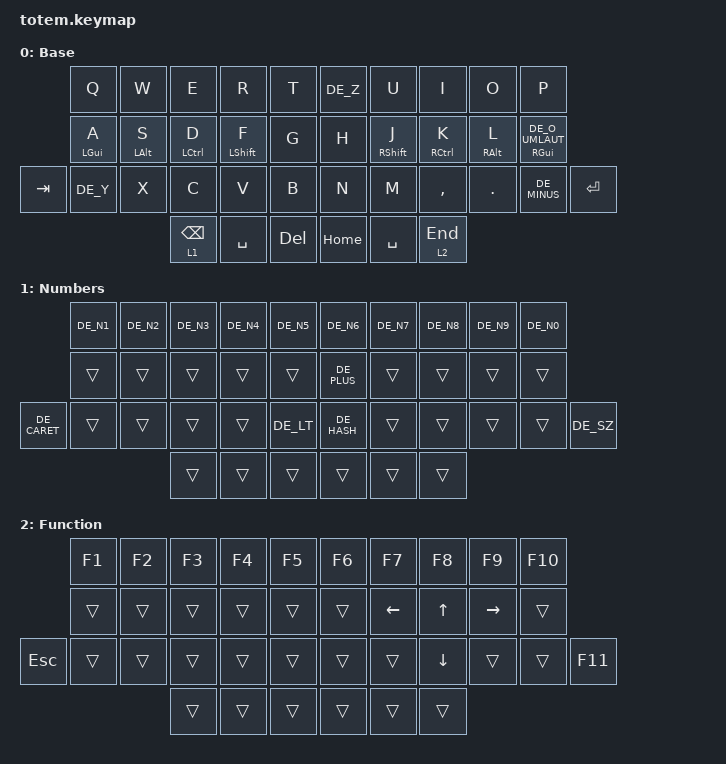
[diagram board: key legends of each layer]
//
//                                                        ▀▀▀▀▀     ▀▀▀▀▀          ▀▀█▀▀
//                                                        ▄▀▀▀▄  ▄  ▄▀▀▀▄  ▄  ▄▀▀▀▄  █  ▄▀▀▀▄
//                                                        █   █  █  █   █  █  █   █  █  █   █
//                                                         ▀▀▀   █   ▀▀▀   █   ▀▀▀   ▀   ▀▀▀
//                                                               █      ▄▄▄█▄▄▄    █   █  
//                                                               ▀      █  █  █     █▄█
//                                                             ▀▀▀▀▀    █  █  █      ▀
//                                                                      ▀  ▀  ▀
//
// ▄▄▄▄▄▄▄▄▄▄▄▄▄▄▄▄▄▄▄▄▄▄▄▄▄▄▄▄▄▄▄▄▄▄▄▄▄▄▄▄▄▄▄▄▄▄▄▄▄▄▄▄▄▄▄▄▄▄▄▄▄▄▄▄▄▄▄▄▄▄▄▄▄▄▄▄▄▄▄▄▄▄▄▄▄▄▄▄▄▄▄▄▄▄▄▄▄▄▄▄▄▄▄▄▄▄▄▄▄▄▄▄▄▄▄▄▄▄▄▄▄▄▄▄▄▄▄▄▄▄▄▄▄▄▄▄▄▄▄▄▄▄▄▄▄▄▄▄▄

#include <behaviors.dtsi>
#include <dt-bindings/zmk/keys.h>
#include "keys_de.h"

#define BASE        0
#define NUM         1
#define FN          2
#define NAV         3

// ▄▄▄▄▄▄▄▄▄▄▄▄▄▄▄▄▄▄▄▄▄▄▄▄▄▄▄▄▄▄▄▄▄▄▄▄▄▄▄▄▄▄▄▄▄▄▄▄▄▄▄▄▄▄▄▄▄▄▄▄▄▄▄▄▄▄▄▄▄▄▄▄▄▄▄▄▄▄▄▄▄▄▄▄▄▄▄▄▄▄▄▄▄▄▄▄▄▄▄▄▄▄▄▄▄▄▄▄▄▄▄▄▄▄▄▄▄▄▄▄▄▄▄▄▄▄▄▄▄▄▄▄▄▄▄▄▄▄▄▄▄▄▄▄▄▄▄▄▄

&mt {
    quick-tap-ms = <125>;
    flavor = "tap-preferred";
};

&lt { quick-tap-ms = <125>; };

/ {
    behaviors {
        hm: homerow_mods {
            compatible = "zmk,behavior-hold-tap";
            label = "HOMEROW_MODS";
            #binding-cells = <2>;
            flavor = "tap-preferred";
            tapping-term-ms = <200>;
            quick-tap-ms = <125>;
            global-quick-tap;
            bindings = <&kp>, <&kp>;
        };
    };

    combos { compatible = "zmk,combos"; };

    keymap {
        compatible = "zmk,keymap";

        BASE {
            display-name = "Base";
            bindings = <
         &kp Q           &kp W           &kp E               &kp R             &kp T         &kp DE_Z  &kp U              &kp I                &kp O            &kp P
         &mt LEFT_GUI A  &mt LEFT_ALT S  &mt LEFT_CONTROL D  &mt LEFT_SHIFT F  &kp G         &kp H     &mt RIGHT_SHIFT J  &mt RIGHT_CONTROL K  &mt RIGHT_ALT L  &mt RIGHT_GUI DE_O_UMLAUT
&kp TAB  &kp DE_Y        &kp X           &kp C               &kp V             &kp B         &kp N     &kp M              &kp COMMA            &kp DOT          &kp DE_MINUS               &kp ENTER
                                         &lt 1 BACKSPACE     &kp SPACE         &kp DELETE    &kp HOME  &kp SPACE          &lt 2 END
            >;
        };

        NUM {
            bindings = <
              &kp DE_N1  &kp DE_N2  &kp DE_N3  &kp DE_N4  &kp DE_N5    &kp DE_N6    &kp DE_N7  &kp DE_N8  &kp DE_N9  &kp DE_N0
              &trans     &trans     &trans     &trans     &trans       &kp DE_PLUS  &trans     &trans     &trans     &trans
&kp DE_CARET  &trans     &trans     &trans     &trans     &kp DE_LT    &kp DE_HASH  &trans     &trans     &trans     &trans     &kp DE_SZ
                                    &trans     &trans     &trans       &trans       &trans     &trans
            >;

            label = "Numbers";
        };

        FN {
            bindings = <
         &kp F1  &kp F2  &kp F3  &kp F4  &kp F5    &kp F6  &kp F7    &kp F8    &kp F9     &kp F10
         &trans  &trans  &trans  &trans  &trans    &trans  &kp LEFT  &kp UP    &kp RIGHT  &trans
&kp ESC  &trans  &trans  &trans  &trans  &trans    &trans  &trans    &kp DOWN  &trans     &trans   &kp F11
                         &trans  &trans  &trans    &trans  &trans    &trans
            >;

            label = "Function";
        };
    };
};
